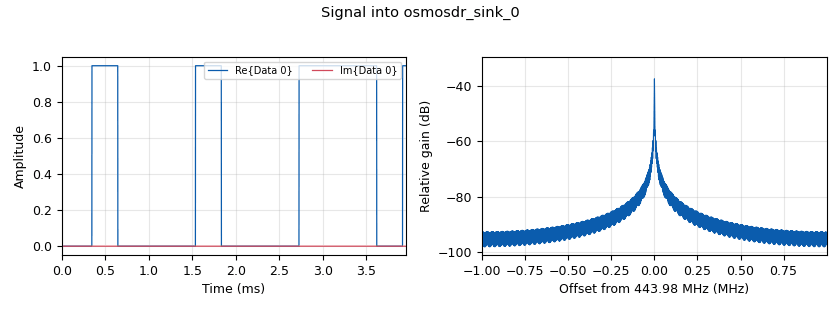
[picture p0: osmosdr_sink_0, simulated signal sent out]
options:
  parameters:
    generate_options: qt_gui
    id: Send
    output_language: python
  states: {}

blocks:
- name: Repeat_time
  id: variable_qtgui_chooser
  parameters:
    label0: Brown
    label1: Black
    num_opts: '2'
    option1: '790'
    orient: Qt.QHBoxLayout
    type: int
    value: '644'
    widget: radio_buttons
  states: {state: disabled}
- name: ask_type
  id: variable_qtgui_chooser
  parameters:
    label0: Brown
    label1: Black
    num_opts: '2'
    option1: '1'
    orient: Qt.QHBoxLayout
    type: int
    value: '0'
    widget: radio_buttons
  states: {state: disabled}
- name: ask_vector_black
  id: variable_qtgui_chooser
  parameters:
    label: choose your ask type
    label0: ButtonUp
    label1: ButtonDown
    label2: ButtonLock
    label3: ButtonOpen
    num_opts: '4'
    option1: (1,0,0,0,0,0,0,0,0,0,0,0,0,0,0,0,0,0,0,0,0,0,0,0,0,0,0,0,0,0,0,0,1, 1, 1, 0, 1, 0, 0, 0, 1, 1, 1, 0, 1, 1, 1, 0, 1, 1, 1, 0, 1, 1, 1, 0, 1, 0, 0, 0, 1, 0, 0, 0, 1, 0, 0, 0, 1, 1, 1, 0, 1, 0, 0, 0, 1, 1, 1, 0, 1, 0, 0, 0, 1, 1, 1, 0, 1, 1, 1, 0, 1, 1, 1, 0, 1, 0, 0, 0, 1, 1, 1, 0, 1, 0, 0, 0, 1, 0, 0, 0, 1, 1, 1, 0, 1, 0, 0, 0, 1, 0, 0, 0, 1, 0, 0, 0, 1, 0, 0, 0)
    option2: (1,0,0,0,0,0,0,0,0,0,0,0,0,0,0,0,0,0,0,0,0,0,0,0,0,0,0,0,0,0,0,0,1, 1, 1, 0, 1, 0, 0, 0, 1, 1, 1, 0, 1, 1, 1, 0, 1, 1, 1, 0, 1, 1, 1, 0, 1, 0, 0, 0, 1, 0, 0, 0, 1, 0, 0, 0, 1, 1, 1, 0, 1, 0, 0, 0, 1, 1, 1, 0, 1, 0, 0, 0, 1, 1, 1, 0, 1, 1, 1, 0, 1, 1, 1, 0, 1, 0, 0, 0, 1, 1, 1, 0, 1, 0, 0, 0, 1, 0, 0, 0, 1, 1, 1, 0, 1, 0, 0, 0, 1, 0, 0, 0, 1, 0, 0, 0, 1, 0, 0, 0)
    option3: (1,0,0,0,0,0,0,0,0,0,0,0,0,0,0,0,0,0,0,0,0,0,0,0,0,0,0,0,0,0,0,0,1, 1, 1, 0, 1, 0, 0, 0, 1, 1, 1, 0, 1, 1, 1, 0, 1, 1, 1, 0, 1, 1, 1, 0, 1, 0, 0, 0, 1, 0, 0, 0, 1, 0, 0, 0, 1, 1, 1, 0, 1, 0, 0, 0, 1, 1, 1, 0, 1, 0, 0, 0, 1, 1, 1, 0, 1, 1, 1, 0, 1, 1, 1, 0, 1, 0, 0, 0, 1, 1, 1, 0, 1, 0, 0, 0, 1, 0, 0, 0, 1, 1, 1, 0, 1, 0, 0, 0, 1, 0, 0, 0, 1, 0, 0, 0, 1, 0, 0, 0)
    orient: Qt.QHBoxLayout
    type: raw
    value: (1,0,0,0,0,0,0,0,0,0,0,0,0,0,0,0,0,0,0,0,0,0,0,0,0,0,0,0,0,0,0,0,1, 0, 1, 0, 1, 0, 1, 0, 1, 0, 1, 0, 1, 0, 1, 0, 1, 0, 1, 0, 1, 0, 1, 0, 0, 0, 0, 0, 0, 0, 0, 0, 0, 1, 0, 0, 1, 0, 0, 1, 1, 0, 1, 0, 0, 1, 0, 0, 1, 0, 0, 1, 1, 0, 1, 1, 0, 1, 1, 0, 1, 0, 0, 1, 0, 0, 1, 0, 0, 1, 0, 0, 1, 1, 0, 1, 0, 0, 1, 0, 0, 1, 1, 0, 1, 1, 0, 1, 0, 0, 1, 1, 0, 1, 1, 0, 1, 0, 0, 1, 1, 0, 1, 0, 0, 1, 0, 0, 1, 0, 0, 1, 0, 0, 1, 0, 0, 1, 0, 0, 1, 0, 0, 1, 1, 0, 1, 0, 0, 1, 0, 0, 1, 0, 0, 1, 1, 0, 1, 1, 0, 1, 1, 0, 1, 1, 0, 1, 0, 0, 1, 0, 0, 1, 0, 0, 1, 1, 0, 1, 1, 0, 1, 1, 0, 1, 0, 0, 1, 1, 0, 1, 1, 0, 1, 0, 0, 1, 0, 0, 1, 1, 0, 1, 1, 0, 1, 1, 0, 1, 1, 0, 1, 1, 0, 1, 1, 0, 1, 1, 0, 1, 1, 0, 1, 1, 0, 1, 1, 0, 1, 0, 0, 1, 1, 0, 1, 0, 0, 1, 1, 0, 1, 1, 0, 1, 1, 0, 1, 1)
    widget: radio_buttons
  states: {state: disabled}
- name: ask_vector_brown
  id: variable_qtgui_chooser
  parameters:
    label: choose your ask type
    label0: ButtonA
    label1: ButtonB
    label2: ButtonC
    label3: ButtonD
    num_opts: '4'
    option1: (1,0,0,0,0,0,0,0,0,0,0,0,0,0,0,0,0,0,0,0,0,0,0,0,0,0,0,0,0,0,0,0,1, 1, 1, 0, 1, 0, 0, 0, 1, 1, 1, 0, 1, 1, 1, 0, 1, 1, 1, 0, 1, 1, 1, 0, 1, 0, 0, 0, 1, 0, 0, 0, 1, 0, 0, 0, 1, 1, 1, 0, 1, 0, 0, 0, 1, 1, 1, 0, 1, 0, 0, 0, 1, 1, 1, 0, 1, 1, 1, 0, 1, 1, 1, 0, 1, 0, 0, 0, 1, 1, 1, 0, 1, 0, 0, 0, 1, 0, 0, 0, 1, 1, 1, 0, 1, 0, 0, 0, 1, 0, 0, 0, 1, 0, 0, 0)
    option2: (1,0,0,0,0,0,0,0,0,0,0,0,0,0,0,0,0,0,0,0,0,0,0,0,0,0,0,0,0,0,0,0,1, 1, 1, 0, 1, 0, 0, 0, 1, 1, 1, 0, 1, 1, 1, 0, 1, 1, 1, 0, 1, 1, 1, 0, 1, 0, 0, 0, 1, 0, 0, 0, 1, 0, 0, 0, 1, 1, 1, 0, 1, 0, 0, 0, 1, 1, 1, 0, 1, 0, 0, 0, 1, 1, 1, 0, 1, 1, 1, 0, 1, 1, 1, 0, 1, 0, 0, 0, 1, 1, 1, 0, 1, 0, 0, 0, 1, 0, 0, 0, 1, 1, 1, 0, 1, 0, 0, 0, 1, 0, 0, 0, 1, 0, 0, 0)
    option3: (1,0,0,0,0,0,0,0,0,0,0,0,0,0,0,0,0,0,0,0,0,0,0,0,0,0,0,0,0,0,0,0,1, 1, 1, 0, 1, 0, 0, 0, 1, 1, 1, 0, 1, 1, 1, 0, 1, 1, 1, 0, 1, 1, 1, 0, 1, 0, 0, 0, 1, 0, 0, 0, 1, 0, 0, 0, 1, 1, 1, 0, 1, 0, 0, 0, 1, 1, 1, 0, 1, 0, 0, 0, 1, 1, 1, 0, 1, 1, 1, 0, 1, 1, 1, 0, 1, 0, 0, 0, 1, 1, 1, 0, 1, 0, 0, 0, 1, 0, 0, 0, 1, 1, 1, 0, 1, 0, 0, 0, 1, 0, 0, 0, 1, 0, 0, 0)
    orient: Qt.QHBoxLayout
    type: raw
    value: (1,0,0,0,0,0,0,0,0,0,0,0,0,0,0,0,0,0,0,0,0,0,0,0,0,0,0,0,0,0,0,0,1, 1, 1, 0, 1, 0, 0, 0, 1, 1, 1, 0, 1, 1, 1, 0, 1, 1, 1, 0, 1, 1, 1, 0, 1, 0, 0, 0, 1, 0, 0, 0, 1, 0, 0, 0, 1, 1, 1, 0, 1, 0, 0, 0, 1, 1, 1, 0, 1, 0, 0, 0, 1, 1, 1, 0, 1, 1, 1, 0, 1, 1, 1, 0, 1, 0, 0, 0, 1, 1, 1, 0, 1, 0, 0, 0, 1, 0, 0, 0, 1, 1, 1, 0, 1, 0, 0, 0, 1, 0, 0, 0, 1, 0, 0, 0, 1, 0, 0, 0)
    widget: radio_buttons
  states: {}
- name: center_freq
  id: variable
  parameters:
    value: 443.98e6
  states: {}
- name: samp_rate
  id: variable
  parameters:
    value: 2e6
  states: {}
- name: variable_qtgui_push_button_0
  id: variable_qtgui_push_button
  parameters:
    pressed: '1'
    released: '0'
    type: int
    value: '0'
  states: {state: disabled}
- name: blocks_file_sink_0
  id: blocks_file_sink
  parameters:
    file: /home/cascades/play_with_ask/data/cf32/send.cf32
    type: complex
  states: {state: disabled}
- name: blocks_file_source_0
  id: blocks_file_source
  parameters:
    file: /home/cascades/play_with_ask/data/cf32/A.cf32
    repeat: 'True'
    type: complex
  states: {state: disabled}
- name: blocks_file_source_1
  id: blocks_file_source
  parameters:
    file: /home/cascades/play_with_ask/data/txt/A.txt
    repeat: 'True'
    type: complex
  states: {state: disabled}
- name: blocks_repeat_0
  id: blocks_repeat
  parameters:
    interp: '595'
    type: complex
  states: {}
- name: blocks_throttle_0
  id: blocks_throttle
  parameters:
    samples_per_second: samp_rate
    type: complex
  states: {state: disabled}
- name: blocks_vector_source_x_0
  id: blocks_vector_source_x
  parameters:
    repeat: 'True'
    type: complex
    vector: ask_vector_brown
  states: {}
- name: osmosdr_sink_0
  id: osmosdr_sink
  parameters:
    bb_gain0: '20'
    bw0: 2e6
    freq0: center_freq
    gain0: '10'
    if_gain0: '20'
    sample_rate: samp_rate
    sync: sync
    type: fc32
  states: {}
- name: qtgui_sink_x_0
  id: qtgui_sink_x
  parameters:
    bw: samp_rate
    fc: '0'
    fftsize: '1024'
    type: complex
    wintype: firdes.WIN_BLACKMAN_hARRIS
  states: {state: disabled}
- name: qtgui_time_sink_x_0
  id: qtgui_time_sink_x
  parameters:
    size: '1024'
    srate: samp_rate
    type: complex
  states: {state: disabled}

connections:
- [blocks_file_source_0, '0', blocks_file_sink_0, '0']
- [blocks_file_source_0, '0', osmosdr_sink_0, '0']
- [blocks_file_source_0, '0', qtgui_time_sink_x_0, '0']
- [blocks_file_source_1, '0', blocks_repeat_0, '0']
- [blocks_file_source_1, '0', osmosdr_sink_0, '0']
- [blocks_file_source_1, '0', qtgui_sink_x_0, '0']
- [blocks_file_source_1, '0', qtgui_time_sink_x_0, '0']
- [blocks_repeat_0, '0', blocks_throttle_0, '0']
- [blocks_repeat_0, '0', osmosdr_sink_0, '0']
- [blocks_throttle_0, '0', blocks_file_sink_0, '0']
- [blocks_throttle_0, '0', qtgui_time_sink_x_0, '0']
- [blocks_vector_source_x_0, '0', blocks_repeat_0, '0']

metadata:
  file_format: 1
